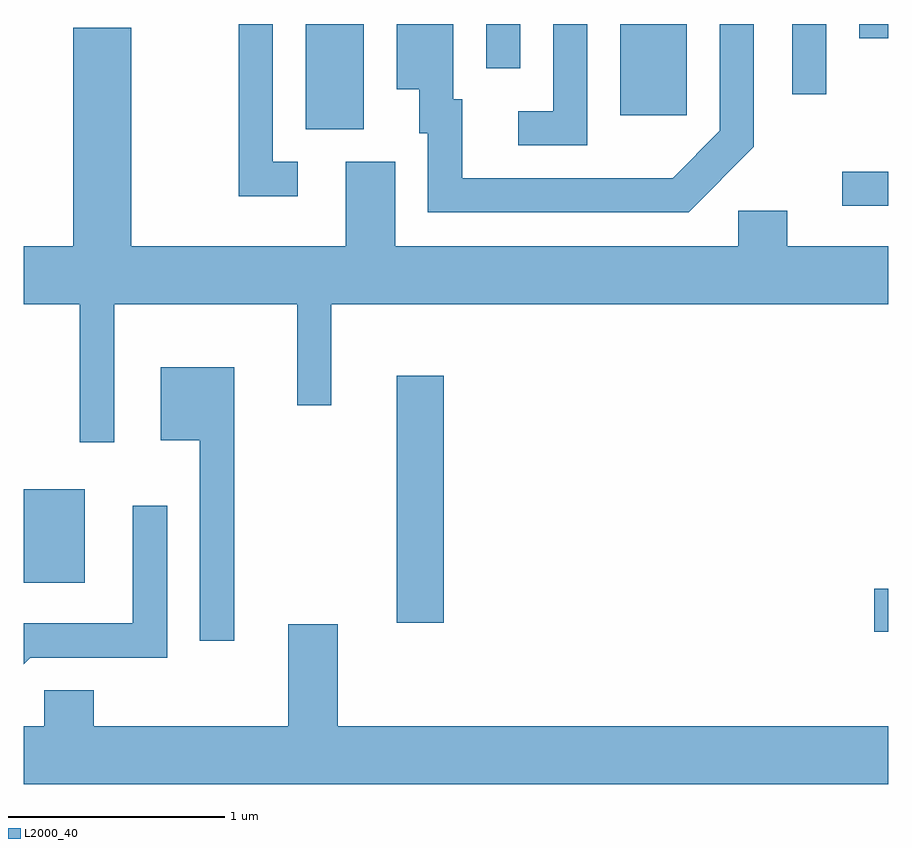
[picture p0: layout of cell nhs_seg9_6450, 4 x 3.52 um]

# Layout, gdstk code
import gdstk
lib = gdstk.Library(unit=1e-6, precision=1e-09)
def R(c, l, rs):  # rectangles x0, y0, x1, y1
    for r in rs: c.add(gdstk.rectangle(r[:2], r[2:], *l))
def P(c, l, *ps):  # polygons
    for p in ps: c.add(gdstk.Polygon(p, *l))
L2000_40 = (2000, 40)

nhs_seg9_6450 = lib.new_cell('nhs_seg9_6450')
R(nhs_seg9_6450, L2000_40, [(379.546,2003.621,379.611,2003.819), (377.336,2003.661,377.554,2004.804), (375.611,2003.846,375.894,2004.279), (379.398,2005.591,379.611,2005.749), (376.916,2005.946,377.184,2006.432), (378.371,2006.011,378.679,2006.432), (379.166,2006.108,379.324,2006.432), (377.751,2006.228,377.909,2006.432), (379.476,2006.366,379.611,2006.432)])
P(nhs_seg9_6450, L2000_40, [(378.219,2006.432),(378.061,2006.432),(378.061,2006.029),(377.898,2006.029),(377.898,2005.871),(378.219,2005.871)],
  [(376.878,2005.794),(376.764,2005.794),(376.764,2006.432),(376.606,2006.432),(376.606,2005.636),(376.878,2005.636)],
  [(378.989,2005.864),(378.989,2006.432),(378.831,2006.432),(378.831,2005.937),(378.614,2005.719),(377.639,2005.719),(377.639,2006.084),(377.599,2006.084),(377.599,2006.432),(377.336,2006.432),(377.336,2006.131),(377.441,2006.131),(377.441,2005.926),(377.481,2005.926),(377.481,2005.561),(378.687,2005.561)],
  [(376.029,2005.136),(376.876,2005.136),(376.876,2004.668),(377.034,2004.668),(377.034,2005.136),(379.611,2005.136),(379.611,2005.404),(379.144,2005.404),(379.144,2005.569),(378.916,2005.569),(378.916,2005.404),(377.329,2005.404),(377.329,2005.794),(377.101,2005.794),(377.101,2005.404),(376.109,2005.404),(376.109,2006.414),(375.841,2006.414),(375.841,2005.404),(375.611,2005.404),(375.611,2005.136),(375.871,2005.136),(375.871,2004.498),(376.029,2004.498)],
  [(376.584,2004.844),(376.246,2004.844),(376.246,2004.506),(376.426,2004.506),(376.426,2003.578),(376.584,2003.578)],
  [(375.642,2003.501),(376.274,2003.501),(376.274,2004.203),(376.116,2004.203),(376.116,2003.659),(375.611,2003.659),(375.611,2003.47)],
  [(379.611,2003.184),(377.064,2003.184),(377.064,2003.654),(376.836,2003.654),(376.836,2003.184),(375.934,2003.184),(375.934,2003.349),(375.706,2003.349),(375.706,2003.184),(375.611,2003.184),(375.611,2002.916),(379.611,2002.916)])

lib.write_gds('nhs_seg9_6450.gds')
